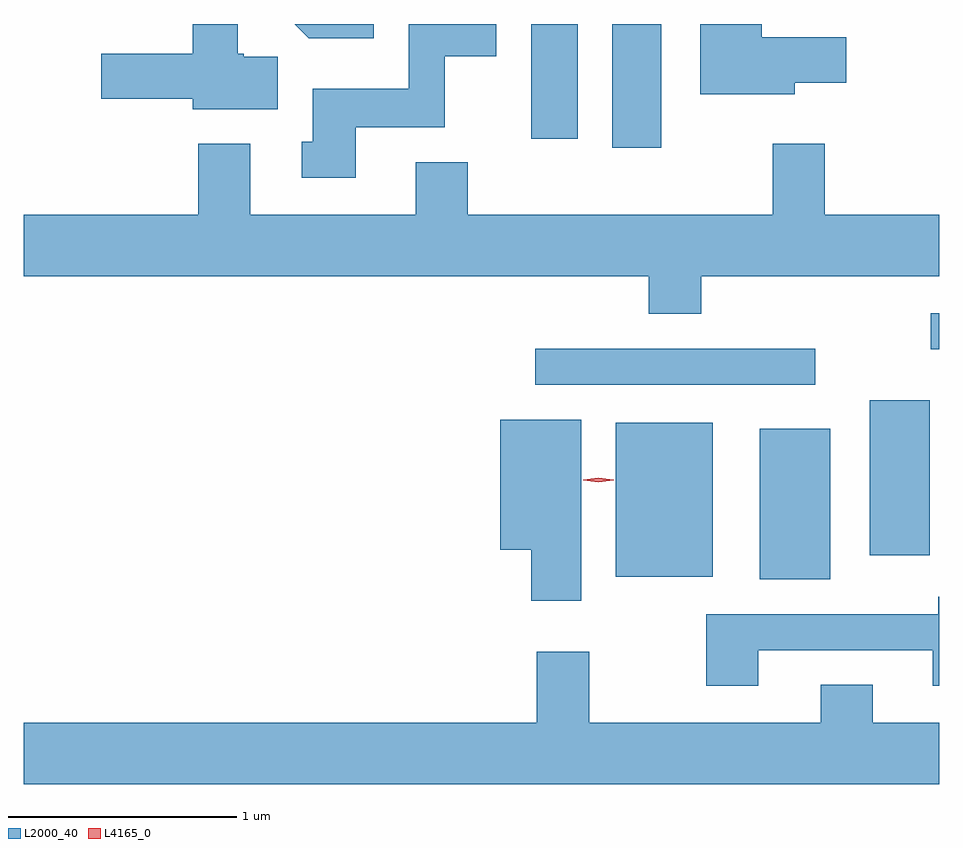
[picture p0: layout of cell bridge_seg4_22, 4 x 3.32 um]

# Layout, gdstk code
import gdstk
lib = gdstk.Library(unit=1e-6, precision=1e-09)
def R(c, l, rs):  # rectangles x0, y0, x1, y1
    for r in rs: c.add(gdstk.rectangle(r[:2], r[2:], *l))
def P(c, l, *ps):  # polygons
    for p in ps: c.add(gdstk.Polygon(p, *l))
L2000_40 = (2000, 40)
L4165_0 = (4165, 0)

bridge_seg4_22 = lib.new_cell('bridge_seg4_22')
R(bridge_seg4_22, L2000_40, [(1265.616,1293.411,1265.924,1294.069), (1264.986,1293.421,1265.409,1294.094), (1266.096,1293.516,1266.359,1294.194), (1264.633,1294.261,1265.858,1294.419), (1266.363,1294.416,1266.399,1294.574), (1264.971,1295.296,1265.184,1295.838), (1264.616,1295.336,1264.819,1295.838)])
P(bridge_seg4_22, L2000_40, [(1263.849,1295.386),(1264.239,1295.386),(1264.239,1295.696),(1264.464,1295.696),(1264.464,1295.838),(1264.081,1295.838),(1264.081,1295.554),(1263.661,1295.554),(1263.661,1295.324),(1263.613,1295.324),(1263.613,1295.166),(1263.849,1295.166)],
  [(1263.509,1295.694),(1263.36,1295.694),(1263.36,1295.709),(1263.334,1295.709),(1263.334,1295.838),(1263.136,1295.838),(1263.136,1295.709),(1262.736,1295.709),(1262.736,1295.511),(1263.136,1295.511),(1263.136,1295.466),(1263.509,1295.466)],
  [(1265.769,1295.581),(1265.994,1295.581),(1265.994,1295.779),(1265.624,1295.779),(1265.624,1295.838),(1265.356,1295.838),(1265.356,1295.531),(1265.769,1295.531)],
  [(1263.929,1295.838),(1263.582,1295.838),(1263.644,1295.776),(1263.929,1295.776)],
  [(1265.359,1294.736),(1266.399,1294.736),(1266.399,1295.004),(1265.899,1295.004),(1265.899,1295.314),(1265.671,1295.314),(1265.671,1295.004),(1264.339,1295.004),(1264.339,1295.234),(1264.111,1295.234),(1264.111,1295.004),(1263.389,1295.004),(1263.389,1295.314),(1263.161,1295.314),(1263.161,1295.004),(1262.399,1295.004),(1262.399,1294.736),(1265.131,1294.736),(1265.131,1294.571),(1265.359,1294.571)],
  [(1264.834,1294.109),(1264.481,1294.109),(1264.481,1293.541),(1264.616,1293.541),(1264.616,1293.316),(1264.834,1293.316)],
  [(1265.609,1293.101),(1266.371,1293.101),(1266.371,1292.946),(1266.399,1292.946),(1266.399,1293.334),(1266.396,1293.334),(1266.396,1293.259),(1265.381,1293.259),(1265.381,1292.946),(1265.609,1292.946)],
  [(1266.399,1292.784),(1266.109,1292.784),(1266.109,1292.949),(1265.881,1292.949),(1265.881,1292.784),(1264.869,1292.784),(1264.869,1293.094),(1264.641,1293.094),(1264.641,1292.784),(1262.399,1292.784),(1262.399,1292.516),(1266.399,1292.516)])
P(bridge_seg4_22, L4165_0, [(1264.91,1293.835),(1264.843,1293.844),(1264.843,1293.845),(1264.843,1293.845),(1264.91,1293.855),(1264.976,1293.845),(1264.976,1293.845),(1264.976,1293.844)])

lib.write_gds('bridge_seg4_22.gds')
